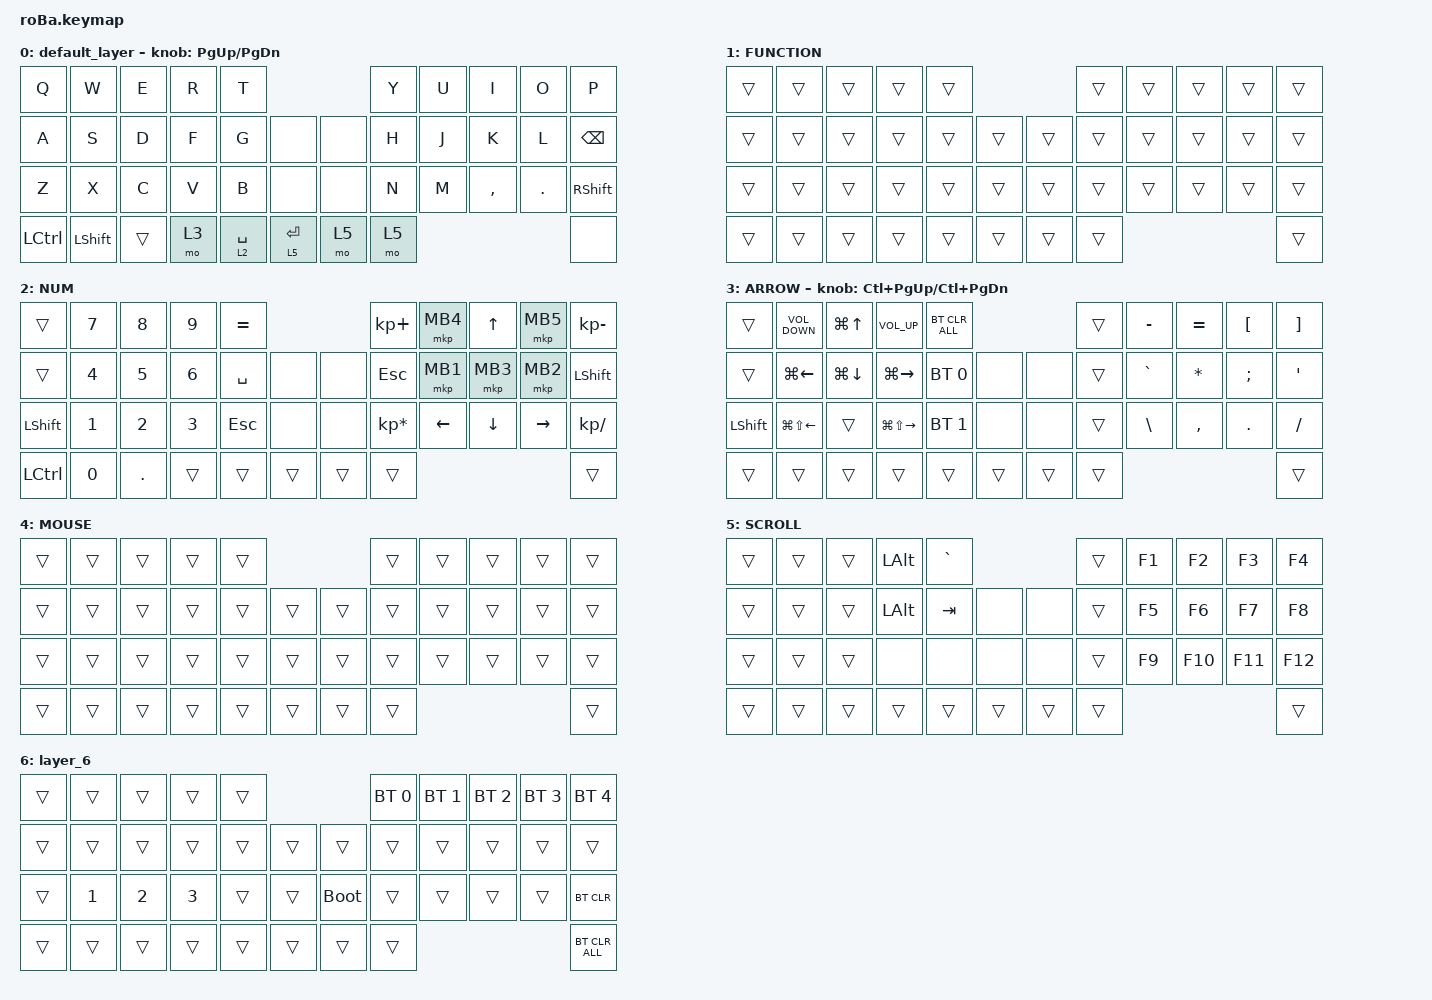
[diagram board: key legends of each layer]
#include <behaviors.dtsi>
#include <dt-bindings/zmk/bt.h>
#include <dt-bindings/zmk/keys.h>
#include <dt-bindings/zmk/pointing.h>

#define MOUSE 4
#define SCROLL 5
#define NUM 6

&mt {
};

/ {
    combos {
        compatible = "zmk,combos";

        tab {
            bindings = <&kp TAB>;
            key-positions = <11 12>;
        };

        shift_tab {
            bindings = <&kp LS(TAB)>;
            key-positions = <12 13>;
        };

        muhennkann {
            bindings = <&to_layer_0 INT_MUHENKAN>;
            key-positions = <11 10>;
        };

        double_quotation {
            bindings = <&kp DOUBLE_QUOTES>;
            key-positions = <20 21>;
        };

        eq {
            bindings = <&kp EQUAL>;
            key-positions = <24 25>;
        };
    };

    macros {
        to_layer_0: to_layer_0 {
            compatible = "zmk,behavior-macro-one-param";
            #binding-cells = <1>;
            bindings = <&to 0 &macro_param_1to1 &kp MACRO_PLACEHOLDER>;
            label = "TO_LAYER_0";
        };
    };

    behaviors {
        lt_to_layer_0: lt_to_layer_0 {
            compatible = "zmk,behavior-hold-tap";
            label = "LAYER_TAP_TO_0";
            bindings = <&mo>, <&to_layer_0>;

            #binding-cells = <2>;
            tapping-term-ms = <200>;
        };
    };

    keymap {
        compatible = "zmk,keymap";

        default_layer {
            bindings = <
&kp Q      &kp W      &kp E   &kp R  &kp T                                &kp Y  &kp U  &kp I      &kp O    &kp P
&kp A      &kp S      &kp D   &kp F  &kp G        &none            &none  &kp H  &kp J  &kp K      &kp L    &kp BACKSPACE
&kp Z      &kp X      &kp C   &kp V  &kp B        &none            &none  &kp N  &kp M  &kp COMMA  &kp DOT  &kp RSHFT
&kp LCTRL  &kp LSHFT  &trans  &mo 3  &lt 2 SPACE  &lt 5 ENTER      &mo 5  &mo 5                             &none
            >;

            sensor-bindings = <&inc_dec_kp PG_UP PAGE_DOWN>;
        };

        FUNCTION {
            bindings = <
&trans  &trans  &trans  &trans  &trans                      &trans  &trans  &trans  &trans  &trans
&trans  &trans  &trans  &trans  &trans  &trans      &trans  &trans  &trans  &trans  &trans  &trans
&trans  &trans  &trans  &trans  &trans  &trans      &trans  &trans  &trans  &trans  &trans  &trans
&trans  &trans  &trans  &trans  &trans  &trans      &trans  &trans                          &trans
            >;
        };

        NUM {
            bindings = <
&trans            &kp N7        &kp N8        &kp N9  &kp EQUAL                      &kp KP_PLUS      &mkp MB4  &kp UP_ARROW  &mkp MB5   &kp KP_MINUS
&trans            &kp N4        &kp N5        &kp N6  &kp SPACE  &none       &none   &kp ESC          &mkp MB1  &mkp MB3      &mkp MB2   &kp LEFT_SHIFT
&kp LEFT_SHIFT    &kp NUMBER_1  &kp NUMBER_2  &kp N3  &kp ESC    &none       &none   &kp KP_ASTERISK  &kp LEFT  &kp DOWN      &kp RIGHT  &kp KP_SLASH
&kp LEFT_CONTROL  &kp N0        &kp PERIOD    &trans  &trans     &trans      &trans  &trans                                              &trans
            >;
        };

        ARROW {
            bindings = <
&trans          &kp C_VOLUME_DOWN       &kp LG(UP_ARROW)    &kp C_VOLUME_UP          &bt BT_CLR_ALL                      &trans  &kp MINUS      &kp EQUAL     &kp LEFT_BRACKET  &kp RIGHT_BRACKET
&trans          &kp LG(LEFT_ARROW)      &kp LG(DOWN_ARROW)  &kp LG(RIGHT_ARROW)      &bt BT_SEL 0    &none       &none   &trans  &kp GRAVE      &kp ASTERISK  &kp SEMI          &kp SINGLE_QUOTE
&kp LEFT_SHIFT  &kp LG(LS(LEFT_ARROW))  &trans              &kp LG(LS(RIGHT_ARROW))  &bt BT_SEL 1    &none       &none   &trans  &kp BACKSLASH  &kp COMMA     &kp PERIOD        &kp SLASH
&trans          &trans                  &trans              &trans                   &trans          &trans      &trans  &trans                                                 &trans
            >;

            sensor-bindings = <&inc_dec_kp LC(PAGE_UP) LC(PAGE_DOWN)>;
        };

        MOUSE {
            bindings = <
&trans  &trans  &trans  &trans  &trans                      &trans  &trans  &trans  &trans  &trans
&trans  &trans  &trans  &trans  &trans  &trans      &trans  &trans  &trans  &trans  &trans  &trans
&trans  &trans  &trans  &trans  &trans  &trans      &trans  &trans  &trans  &trans  &trans  &trans
&trans  &trans  &trans  &trans  &trans  &trans      &trans  &trans                          &trans
            >;
        };

        SCROLL {
            bindings = <
&trans  &trans  &trans  &kp LEFT_ALT  &kp GRAVE                      &trans  &kp F1  &kp F2   &kp F3   &kp F4
&trans  &trans  &trans  &kp LEFT_ALT  &kp TAB    &none       &none   &trans  &kp F5  &kp F6   &kp F7   &kp F8
&trans  &trans  &trans  &none         &none      &none       &none   &trans  &kp F9  &kp F10  &kp F11  &kp F12
&trans  &trans  &trans  &trans        &trans     &trans      &trans  &trans                            &trans
            >;
        };

        layer_6 {
            bindings = <
&trans  &trans        &trans        &trans        &trans                           &bt BT_SEL 0  &bt BT_SEL 1  &bt BT_SEL 2  &bt BT_SEL 3  &bt BT_SEL 4
&trans  &trans        &trans        &trans        &trans  &trans      &trans       &trans        &trans        &trans        &trans        &trans
&trans  &kp NUMBER_1  &kp NUMBER_2  &kp NUMBER_3  &trans  &trans      &bootloader  &trans        &trans        &trans        &trans        &bt BT_CLR
&trans  &trans        &trans        &trans        &trans  &trans      &trans       &trans                                                  &bt BT_CLR_ALL
            >;
        };
    };
};
